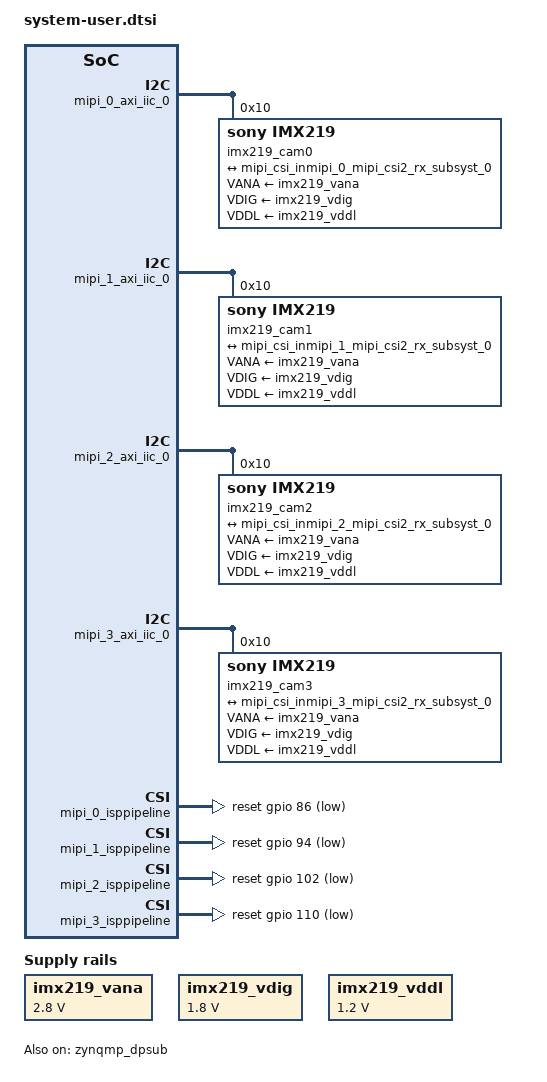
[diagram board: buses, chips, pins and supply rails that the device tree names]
/include/ "system-conf.dtsi"
/ {
	dp_aclk: dp_aclk {
		compatible = "fixed-clock";
		#clock-cells = <0>;
		clock-frequency = <100000000>;
		clock-accuracy = <100>;
	};

	/* Repairing misc_clks as per Article number 000036480 */
	/delete-node/ misc_clk_0;
	misc_clk_0: misc_clk_0 {
		#clock-cells = <0>;
		clock-frequency = <99999000>;
		compatible = "fixed-clock";
	};

	/delete-node/ misc_clk_1;
	misc_clk_1: misc_clk_1 {
		#clock-cells = <0>;
		clock-frequency = <249997500>;
		compatible = "fixed-clock";
	};

	/delete-node/ misc_clk_2;
	misc_clk_2: misc_clk_2 {
		#clock-cells = <0>;
		clock-frequency = <199998000>;
		compatible = "fixed-clock";
	};

	/delete-node/ misc_clk_3;
	misc_clk_3: misc_clk_3 {
		#clock-cells = <0>;
		clock-frequency = <49999500>;
		compatible = "fixed-clock";
	};
};

&zynqmp_dpsub {
    status = "okay";
    clocks = <&dp_aclk>,<&zynqmp_clk DP_AUDIO_REF>,<&zynqmp_clk DP_VIDEO_REF>,<&display_pipeline_clk_wiz_0 0>;
    clock-names = "dp_apb_clk", "dp_aud_clk","dp_vtc_pixel_clk_in","dp_live_video_in_clk";
    xlnx,bridge = <&display_pipeline_v_tc_0>;

    dp_port: port@0 {
        reg = <0>;
        dp_encoder: endpoint {
            remote-endpoint = <&mixer_crtcdisplay_pipeline_v_mix_0>;
        };
    };
};

&amba_pl {
	imx219_clk: imx219_clk {
		#clock-cells = <0x0>;
		clock-frequency = <24000000>;
		compatible = "fixed-clock";
	};


	imx219_vana: fixedregulator@3 {
		compatible = "regulator-fixed";
		regulator-name = "imx219_vana";
		regulator-min-microvolt = <2800000>;
		regulator-max-microvolt = <2800000>;
		enable-active-high;
	};

	imx219_vdig: fixedregulator@4 {
		compatible = "regulator-fixed";
		regulator-name = "imx219_vdig";
		regulator-min-microvolt = <1800000>;
		regulator-max-microvolt = <1800000>;
	};

	imx219_vddl: fixedregulator@5 {
		compatible = "regulator-fixed";
		regulator-name = "imx219_vddl";
		regulator-min-microvolt = <1200000>;
		regulator-max-microvolt = <1200000>;
	};
	
};

&mipi_0_axi_iic_0 {
	imx219_cam0: sensor@10 {
		compatible = "sony,imx219";
		reg = <0x10>;
		clocks = <&imx219_clk>;
		VANA-supply = <&imx219_vana>;   /* 2.8v */
		VDIG-supply = <&imx219_vdig>;   /* 1.8v */
		VDDL-supply = <&imx219_vddl>;   /* 1.2v */

		port {
		     imx219_cam0_0: endpoint {
			remote-endpoint = <&mipi_csi_inmipi_0_mipi_csi2_rx_subsyst_0>;
			data-lanes = <1 2>;
			link-frequencies = /bits/ 64 <456000000>;
			};
		};
	};
};

&mipi_1_axi_iic_0 {
	imx219_cam1: sensor@10 {
		compatible = "sony,imx219";
		reg = <0x10>;
		clocks = <&imx219_clk>;
		VANA-supply = <&imx219_vana>;   /* 2.8v */
		VDIG-supply = <&imx219_vdig>;   /* 1.8v */
		VDDL-supply = <&imx219_vddl>;   /* 1.2v */

		port {
		     imx219_cam1_0: endpoint {
			remote-endpoint = <&mipi_csi_inmipi_1_mipi_csi2_rx_subsyst_0>;
			data-lanes = <1 2>;
			link-frequencies = /bits/ 64 <456000000>;
			};
		};
	};
};

&mipi_2_axi_iic_0 {
	imx219_cam2: sensor@10 {
		compatible = "sony,imx219";
		reg = <0x10>;
		clocks = <&imx219_clk>;
		VANA-supply = <&imx219_vana>;   /* 2.8v */
		VDIG-supply = <&imx219_vdig>;   /* 1.8v */
		VDDL-supply = <&imx219_vddl>;   /* 1.2v */

		port {
		     imx219_cam2_0: endpoint {
			remote-endpoint = <&mipi_csi_inmipi_2_mipi_csi2_rx_subsyst_0>;
			data-lanes = <1 2>;
			link-frequencies = /bits/ 64 <456000000>;
			};
		};
	};
};

&mipi_3_axi_iic_0 {
	imx219_cam3: sensor@10 {
		compatible = "sony,imx219";
		reg = <0x10>;
		clocks = <&imx219_clk>;
		VANA-supply = <&imx219_vana>;   /* 2.8v */
		VDIG-supply = <&imx219_vdig>;   /* 1.8v */
		VDDL-supply = <&imx219_vddl>;   /* 1.2v */

		port {
		     imx219_cam3_0: endpoint {
			remote-endpoint = <&mipi_csi_inmipi_3_mipi_csi2_rx_subsyst_0>;
			data-lanes = <1 2>;
			link-frequencies = /bits/ 64 <456000000>;
			};
		};
	};
};

&mipi_0_mipi_csi2_rx_subsyst_0 {
	xlnx,en-active-lanes;
};

&mipi_1_mipi_csi2_rx_subsyst_0 {
	xlnx,en-active-lanes;
};

&mipi_2_mipi_csi2_rx_subsyst_0 {
	xlnx,en-active-lanes;
};

&mipi_3_mipi_csi2_rx_subsyst_0 {
	xlnx,en-active-lanes;
};

&mipi_csi_inmipi_0_mipi_csi2_rx_subsyst_0 {
	remote-endpoint = <&imx219_cam0_0>;
};

&mipi_csi_inmipi_1_mipi_csi2_rx_subsyst_0 {
	remote-endpoint = <&imx219_cam1_0>;
};

&mipi_csi_inmipi_2_mipi_csi2_rx_subsyst_0 {
	remote-endpoint = <&imx219_cam2_0>;
};

&mipi_csi_inmipi_3_mipi_csi2_rx_subsyst_0 {
	remote-endpoint = <&imx219_cam3_0>;
};

&mipi_0_isppipeline {
	reset-gpios = <&gpio 86 1>;
	xlnx,max-height = /bits/ 16 <1232>;
	xlnx,max-width = /bits/ 16 <1920>;
	xlnx,rgain = /bits/ 16 <128>;
	xlnx,bgain = /bits/ 16 <210>;
	xlnx,pawb = /bits/ 16 <350>;
	xlnx,mode-reg = <1>;
};

&isppipeline_port0mipi_0_isppipeline {
	xlnx,video-width = <10>;
	xlnx,cfa-pattern = "rggb";
};

&isppipeline_port1mipi_0_isppipeline {
	xlnx,video-width = <8>;
	xlnx,cfa-pattern = "rggb";
};

&mipi_1_isppipeline {
	reset-gpios = <&gpio 94 1>;
	xlnx,max-height = /bits/ 16 <1232>;
	xlnx,max-width = /bits/ 16 <1920>;
	xlnx,rgain = /bits/ 16 <128>;
	xlnx,bgain = /bits/ 16 <210>;
	xlnx,pawb = /bits/ 16 <350>;
	xlnx,mode-reg = <1>;
};

&isppipeline_port0mipi_1_isppipeline {
	xlnx,video-width = <10>;
	xlnx,cfa-pattern = "rggb";
};

&isppipeline_port1mipi_1_isppipeline {
	xlnx,video-width = <8>;
	xlnx,cfa-pattern = "rggb";
};

&mipi_2_isppipeline {
	reset-gpios = <&gpio 102 1>;
	xlnx,max-height = /bits/ 16 <1232>;
	xlnx,max-width = /bits/ 16 <1920>;
	xlnx,rgain = /bits/ 16 <128>;
	xlnx,bgain = /bits/ 16 <210>;
	xlnx,pawb = /bits/ 16 <350>;
	xlnx,mode-reg = <1>;
};

&isppipeline_port0mipi_2_isppipeline {
	xlnx,video-width = <10>;
	xlnx,cfa-pattern = "rggb";
};

&isppipeline_port1mipi_2_isppipeline {
	xlnx,video-width = <8>;
	xlnx,cfa-pattern = "rggb";
};

&mipi_3_isppipeline {
	reset-gpios = <&gpio 110 1>;
	xlnx,max-height = /bits/ 16 <1232>;
	xlnx,max-width = /bits/ 16 <1920>;
	xlnx,rgain = /bits/ 16 <128>;
	xlnx,bgain = /bits/ 16 <210>;
	xlnx,pawb = /bits/ 16 <350>;
	xlnx,mode-reg = <1>;
};

&isppipeline_port0mipi_3_isppipeline {
	xlnx,video-width = <10>;
	xlnx,cfa-pattern = "rggb";
};

&isppipeline_port1mipi_3_isppipeline {
	xlnx,video-width = <8>;
	xlnx,cfa-pattern = "rggb";
};

&mipi_0_v_proc {
	compatible = "xlnx,v-vpss-scaler-2.2";
};

&mipi_1_v_proc {
	compatible = "xlnx,v-vpss-scaler-2.2";
};

&mipi_2_v_proc {
	compatible = "xlnx,v-vpss-scaler-2.2";
};

&mipi_3_v_proc {
	compatible = "xlnx,v-vpss-scaler-2.2";
};

&display_pipeline_clk_wiz_0 {
	#address-cells = <2>;
};

&mixer_crtcdisplay_pipeline_v_mix_0 {
	remote-endpoint = <&dp_encoder>;
};

&display_pipeline_v_mix_0 {
	xlnx,disp-bridge = <&zynqmp_dpsub>;
};

&display_pipeline_v_tc_0 {
	compatible = "xlnx,bridge-v-tc-6.1";
	xlnx,pixels-per-clock = <1>;
};

&mipi_csi_port1mipi_0_mipi_csi2_rx_subsyst_0 {
	xlnx,cfa-pattern = "rggb";
	xlnx,video-format = <12>;
	xlnx,video-width = <8>;
};

&mipi_csi_port0mipi_0_mipi_csi2_rx_subsyst_0 {
	xlnx,cfa-pattern = "rggb";
	xlnx,video-format = <12>;
	xlnx,video-width = <8>;
};

&mipi_csi_port1mipi_1_mipi_csi2_rx_subsyst_0 {
	xlnx,cfa-pattern = "rggb";
	xlnx,video-format = <12>;
	xlnx,video-width = <8>;
};

&mipi_csi_port0mipi_1_mipi_csi2_rx_subsyst_0 {
	xlnx,cfa-pattern = "rggb";
	xlnx,video-format = <12>;
	xlnx,video-width = <8>;
};

&mipi_csi_port1mipi_2_mipi_csi2_rx_subsyst_0 {
	xlnx,cfa-pattern = "rggb";
	xlnx,video-format = <12>;
	xlnx,video-width = <8>;
};

&mipi_csi_port0mipi_2_mipi_csi2_rx_subsyst_0 {
	xlnx,cfa-pattern = "rggb";
	xlnx,video-format = <12>;
	xlnx,video-width = <8>;
};

&mipi_csi_port1mipi_3_mipi_csi2_rx_subsyst_0 {
	xlnx,cfa-pattern = "rggb";
	xlnx,video-format = <12>;
	xlnx,video-width = <8>;
};

&mipi_csi_port0mipi_3_mipi_csi2_rx_subsyst_0 {
	xlnx,cfa-pattern = "rggb";
	xlnx,video-format = <12>;
	xlnx,video-width = <8>;
};

